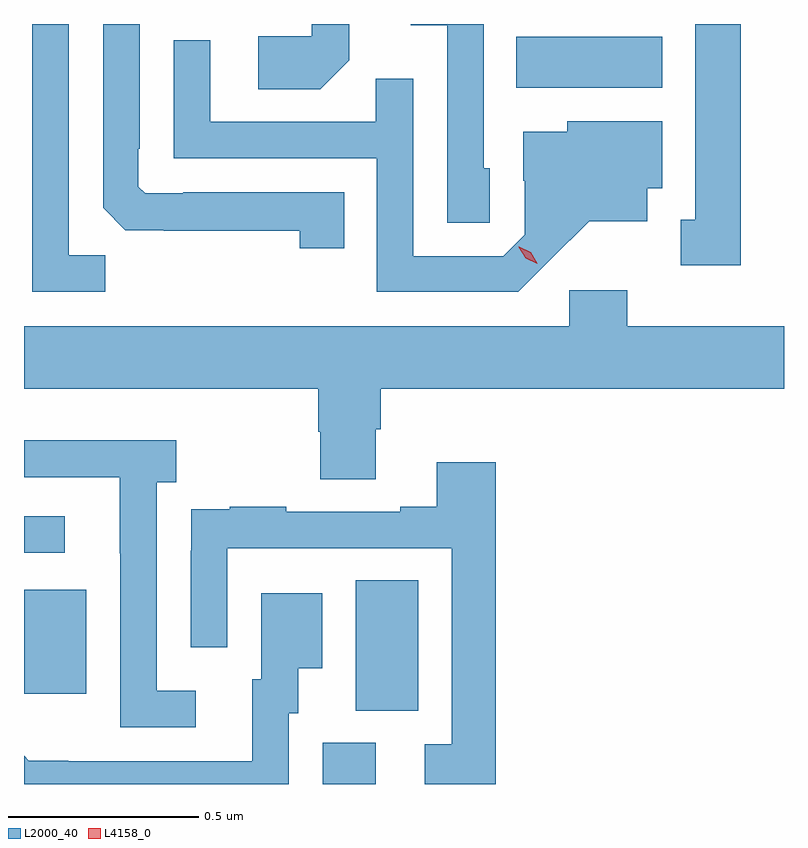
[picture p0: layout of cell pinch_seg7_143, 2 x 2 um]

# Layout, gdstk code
import gdstk
lib = gdstk.Library(unit=1e-6, precision=1e-09)
def R(c, l, rs):  # rectangles x0, y0, x1, y1
    for r in rs: c.add(gdstk.rectangle(r[:2], r[2:], *l))
def P(c, l, *ps):  # polygons
    for p in ps: c.add(gdstk.Polygon(p, *l))
L2000_40 = (2000, 40)
L4158_0 = (4158, 0)

pinch_seg7_143 = lib.new_cell('pinch_seg7_143')
R(pinch_seg7_143, L2000_40, [(1070.147,1003.572,1070.287,1003.68), (1070.234,1003.765,1070.398,1004.108), (1069.361,1003.809,1069.525,1004.083), (1069.361,1004.181,1069.468,1004.277), (1070.656,1005.404,1071.04,1005.538)])
P(pinch_seg7_143, L2000_40, [(1069.575,1004.963),(1069.479,1004.963),(1069.479,1005.572),(1069.383,1005.572),(1069.383,1004.868),(1069.575,1004.868)],
  [(1070.204,1005.129),(1069.78,1005.129),(1069.78,1005.126),(1069.68,1005.126),(1069.662,1005.144),(1069.662,1005.244),(1069.665,1005.244),(1069.665,1005.572),(1069.569,1005.572),(1069.569,1005.088),(1069.628,1005.029),(1069.729,1005.029),(1069.729,1005.028),(1070.086,1005.028),(1070.086,1004.982),(1070.204,1004.982)],
  [(1070.586,1005.192),(1070.571,1005.192),(1070.571,1005.572),(1070.379,1005.572),(1070.379,1005.569),(1070.475,1005.569),(1070.475,1005.049),(1070.586,1005.049)],
  [(1070.217,1005.476),(1070.217,1005.572),(1070.118,1005.572),(1070.118,1005.54),(1069.977,1005.54),(1069.977,1005.4),(1070.141,1005.4)],
  [(1071.247,1005.572),(1071.128,1005.572),(1071.128,1005.057),(1071.089,1005.057),(1071.089,1004.937),(1071.247,1004.937)],
  [(1070.746,1004.951),(1070.849,1005.053),(1071.001,1005.053),(1071.001,1005.14),(1071.04,1005.14),(1071.04,1005.316),(1070.79,1005.316),(1070.79,1005.289),(1070.675,1005.289),(1070.675,1005.16),(1070.679,1005.16),(1070.679,1005.018),(1070.622,1004.961),(1070.385,1004.961),(1070.385,1005.428),(1070.287,1005.428),(1070.287,1005.315),(1069.851,1005.315),(1069.851,1005.529),(1069.755,1005.529),(1069.755,1005.219),(1070.289,1005.219),(1070.289,1004.868),(1070.662,1004.868)],
  [(1070.287,1004.506),(1070.3,1004.506),(1070.3,1004.612),(1071.361,1004.612),(1071.361,1004.776),(1070.948,1004.776),(1070.948,1004.872),(1070.796,1004.872),(1070.796,1004.776),(1069.361,1004.776),(1069.361,1004.612),(1070.135,1004.612),(1070.135,1004.499),(1070.14,1004.499),(1070.14,1004.374),(1070.287,1004.374)],
  [(1069.813,1003.818),(1069.71,1003.818),(1069.71,1004.366),(1069.762,1004.366),(1069.762,1004.476),(1069.361,1004.476),(1069.361,1004.379),(1069.613,1004.379),(1069.613,1004.179),(1069.614,1004.179),(1069.614,1003.722),(1069.813,1003.722)],
  [(1070.603,1004.419),(1070.447,1004.419),(1070.447,1004.302),(1070.351,1004.302),(1070.351,1004.289),(1070.051,1004.289),(1070.051,1004.302),(1069.903,1004.302),(1069.903,1004.295),(1069.801,1004.295),(1069.801,1004.186),(1069.8,1004.186),(1069.8,1003.932),(1069.896,1003.932),(1069.896,1004.193),(1070.487,1004.193),(1070.487,1003.677),(1070.415,1003.677),(1070.415,1003.572),(1070.603,1003.572)],
  [(1070.058,1003.758),(1070.083,1003.758),(1070.083,1003.877),(1070.146,1003.877),(1070.146,1004.074),(1069.985,1004.074),(1069.985,1003.848),(1069.961,1003.848),(1069.961,1003.632),(1069.477,1003.632),(1069.477,1003.633),(1069.374,1003.633),(1069.361,1003.646),(1069.361,1003.572),(1070.058,1003.572)])
P(pinch_seg7_143, L4158_0, [(1070.712,1004.941),(1070.681,1004.956),(1070.663,1004.985),(1070.663,1004.986),(1070.664,1004.986),(1070.694,1004.971),(1070.712,1004.942),(1070.712,1004.941)])

lib.write_gds('pinch_seg7_143.gds')
